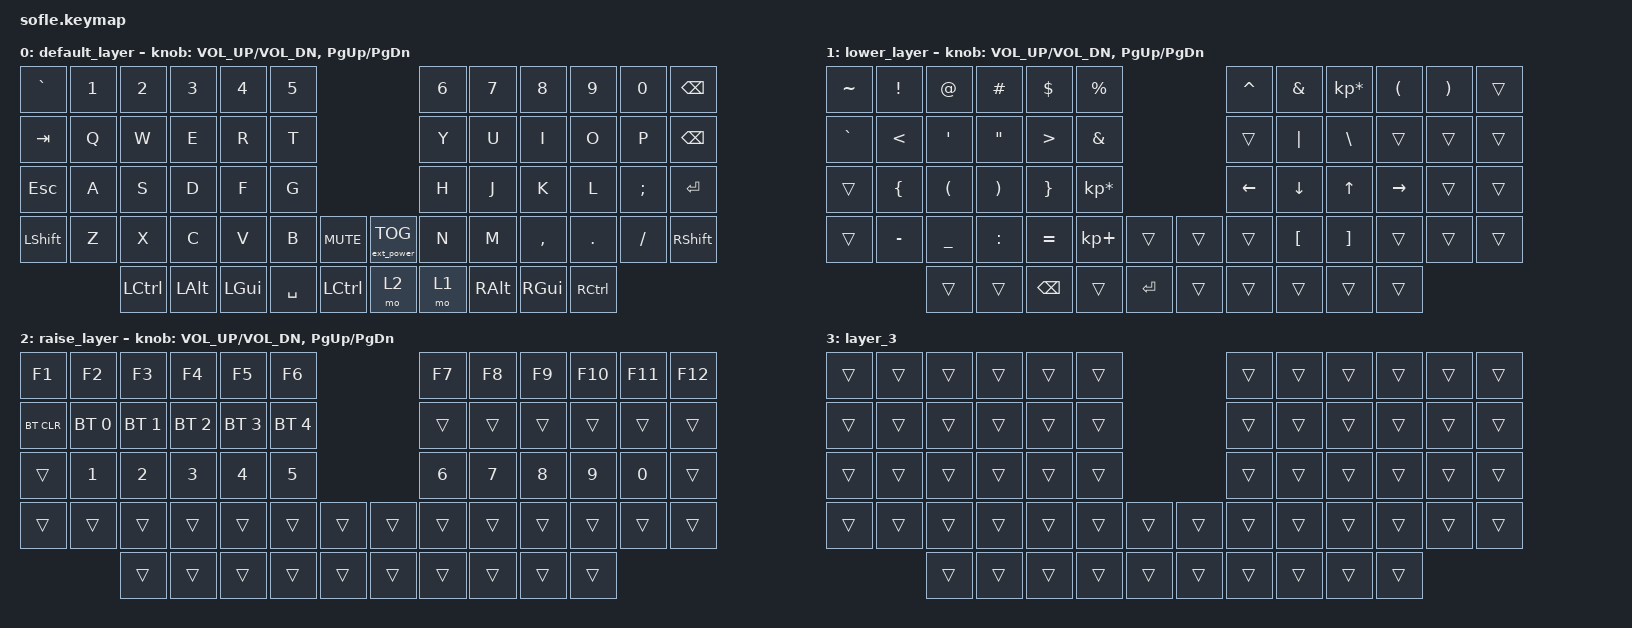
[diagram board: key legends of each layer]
/*
 * Copyright (c) 2020 The ZMK Contributors
 *
 * SPDX-License-Identifier: MIT
 */

#include <behaviors.dtsi>
#include <dt-bindings/zmk/bt.h>
#include <dt-bindings/zmk/ext_power.h>
#include <dt-bindings/zmk/keys.h>

/ {
    behaviors {
        HMR: HMR {
            compatible = "zmk,behavior-hold-tap";
            label = "HMR";
            bindings = <&kp>, <&kp>;

            #binding-cells = <2>;
            tapping-term-ms = <280>;
            quick-tap-ms = <175>;
            flavor = "tap-preferred";
            hold-trigger-on-release;
            hold-trigger-key-positions = <0 1 2 3 4 5 14 15 16 17 12 13 17 24 25 26 27 28 29 36 37 38 39 40 41 42 50 51 52 53 54 55 56 57 58 59>;
            require-prior-idle-ms = <150>;
        };

        HML: HML {
            compatible = "zmk,behavior-hold-tap";
            label = "HML";
            bindings = <&kp>, <&kp>;

            #binding-cells = <2>;
            tapping-term-ms = <280>;
            require-prior-idle-ms = <150>;
            flavor = "tap-preferred";
            hold-trigger-on-release;
            hold-trigger-key-positions = <54 53 52 51 50 6 7 8 9 10 11 18 19 20 21 22 23 30 31 32 33 34 35 43 44 45 46 47 48 49 55 56 57 58 59>;
            quick-tap-ms = <175>;
        };
    };

    combos {
        compatible = "zmk,combos";

        rGUI-jkl {
            bindings = <&kp RIGHT_GUI>;
            key-positions = <31 32 33>;
        };

        lalt_sdf {
            bindings = <&kp LALT>;
            key-positions = <26 27 28>;
        };

        alt+shift_oneshot {
            bindings = <&sk LA(LSHFT)>;
            key-positions = <52 57>;
        };
    };

    keymap {
        compatible = "zmk,keymap";

        default_layer {
            // ------------------------------------------------------------------------------------------------------------
            // | GRAVE |  1  |  2  |  3   |  4   |  5   |                         |  6   |  7    |  8    |  9   |   0   |       |
            // |  TAB  |  Q  |  W  |  E   |  R   |  T   |                         |  Y   |  U    |  I    |  O   |   P   | BKSPC |
            // |  ESC  |  A  |  S  |  D   |  F   |  G   |                         |  H   |  J    |  K    |  L   |   ;   | ENTER |
            // | SHIFT |  Z  |  X  |  C   |  V   |  B   |  MUTE  |        | ExtPw |  N   |  M    |  ,    |  .   |   /   | SHIFT |
            //             | LCTRL | ALT  | LGUI | SPACE|  LCTRL |        | SPACE | RAISE| CTRL  | ALT   | GUI  |

            bindings = <
&kp GRAVE  &kp N1  &kp N2     &kp N3    &kp N4    &kp N5                                      &kp N6  &kp N7    &kp N8     &kp N9     &kp N0         &kp BSPC
&kp TAB    &kp Q   &kp W      &kp E     &kp R     &kp T                                       &kp Y   &kp U     &kp I      &kp O      &kp P          &kp BSPC
&kp ESC    &kp A   &kp S      &kp D     &kp F     &kp G                                       &kp H   &kp J     &kp K      &kp L      &kp SEMICOLON  &kp RET
&kp LSHFT  &kp Z   &kp X      &kp C     &kp V     &kp B      &kp C_MUTE    &ext_power EP_TOG  &kp N   &kp M     &kp COMMA  &kp DOT    &kp FSLH       &kp RSHFT
                   &kp LCTRL  &kp LALT  &kp LGUI  &kp SPACE  &kp LCTRL     &mo 2              &mo 1   &kp RALT  &kp RGUI   &kp RCTRL
            >;

            sensor-bindings = <&inc_dec_kp C_VOL_UP C_VOL_DN &inc_dec_kp PG_UP PG_DN>;
        };

        lower_layer {
            // TODO: Some binds are waiting for shifted keycode support.
            // ------------------------------------------------------------------------------------------------------------
            // |       |  !  |  @  |  #   |  $   |  %   |                   |   ^  |   &   |   *   |   (  |   )   |  BSCP |
            // | `     |  <  |  '  |   "  |   >  |  &   |                   |   Y  |   |   |   \   |   O  |    P  |  F12  |
            // |       |  {  |  (  |  )   |  }   |  *   |                   | LEFT |  v    |  ^    | RIGHT|   ;   |   '   |
            // |       |  -  |  _  |  :   |  =   |  +   |        |  |       |  N   |  [    |  ]    |  .   |   /   |       |
            //               |     |      |      |      |        |  |       |      |       |       |      |

            bindings = <
&kp TILDE  &kp EXCL   &kp AT     &kp HASH   &kp DLLR       &kp PRCNT                             &kp CARET  &kp AMPS  &kp KP_MULTIPLY  &kp LPAR   &kp RPAR  &trans
&kp GRAVE  &kp LT     &kp APOS   &kp DQT    &kp GT         &kp AMPS                              &trans     &kp PIPE  &kp BSLH         &trans     &trans    &trans
&trans     &kp LBRC   &kp LPAR   &kp RPAR   &kp RBRC       &kp KP_MULTIPLY                       &kp LEFT   &kp DOWN  &kp UP           &kp RIGHT  &trans    &trans
&trans     &kp MINUS  &kp UNDER  &kp COLON  &kp EQUAL      &kp KP_PLUS      &trans       &trans  &trans     &kp LBKT  &kp RBKT         &trans     &trans    &trans
                      &trans     &trans     &kp BACKSPACE  &trans           &kp ENTER    &trans  &trans     &trans    &trans           &trans
            >;

            sensor-bindings = <&inc_dec_kp C_VOL_UP C_VOL_DN &inc_dec_kp PG_UP PG_DN>;
        };

        raise_layer {
            // ------------------------------------------------------------------------------------------------------------
            // |  F1 |  F2  |  F3  |  F4   |  F5   |  F6  |                |  F7  |  F8  |   F9  |  F10 |  F11  |  F12  |
            // | BTC | BT1  | BT2  |  BT3  |  BT4  |  BT5 |                |      |      |       |      |       |       |
            // |     |      |      |       |       |      |                |      |      |       |      |       |       |
            // |     |      |      |       |       |      |      |  |      |      |      |       |      |       |       |
            //              |      |       |       |      |      |  |      |      |      |       |      |

            bindings = <
&kp F1      &kp F2        &kp F3        &kp F4        &kp F5        &kp F6                          &kp F7  &kp F8  &kp F9  &kp F10  &kp F11  &kp F12
&bt BT_CLR  &bt BT_SEL 0  &bt BT_SEL 1  &bt BT_SEL 2  &bt BT_SEL 3  &bt BT_SEL 4                    &trans  &trans  &trans  &trans   &trans   &trans
&trans      &kp N1        &kp N2        &kp N3        &kp NUMBER_4  &kp N5                          &kp N6  &kp N7  &kp N8  &kp N9   &kp N0   &trans
&trans      &trans        &trans        &trans        &trans        &trans        &trans    &trans  &trans  &trans  &trans  &trans   &trans   &trans
                          &trans        &trans        &trans        &trans        &trans    &trans  &trans  &trans  &trans  &trans
            >;

            sensor-bindings = <&inc_dec_kp C_VOL_UP C_VOL_DN &inc_dec_kp PG_UP PG_DN>;
        };

        layer_3 {
            bindings = <
&trans  &trans  &trans  &trans  &trans  &trans                    &trans  &trans  &trans  &trans  &trans  &trans
&trans  &trans  &trans  &trans  &trans  &trans                    &trans  &trans  &trans  &trans  &trans  &trans
&trans  &trans  &trans  &trans  &trans  &trans                    &trans  &trans  &trans  &trans  &trans  &trans
&trans  &trans  &trans  &trans  &trans  &trans  &trans    &trans  &trans  &trans  &trans  &trans  &trans  &trans
                &trans  &trans  &trans  &trans  &trans    &trans  &trans  &trans  &trans  &trans
            >;
        };
    };
};
